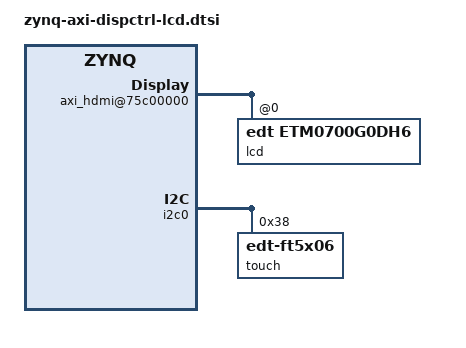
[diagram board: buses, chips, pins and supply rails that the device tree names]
&axi {
	i2c0: i2c@e0004000 {
		compatible = "xlnx,ps7-i2c-1.00.a", "cdns,i2c-r1p10";
		reg = <0xe0004000 0x1000>;
		interrupts = <0 25 4>;
		interrupt-parent = <&gic>;
		clocks = <&clkc 38>;
		i2c-clk = <100000>;
		#address-cells = <0x1>;
		#size-cells = <0x0>;
		touch@38 {
			compatible = "edt-ft5x06";
			reg = <0x38>;
			interrupt-parent = <&gic>;
			interrupts = <0 58 0x4>;
		};
	};
};

/ {
	fpga_axi: fpga-axi@0 {
		compatible = "simple-bus";
		#address-cells = <0x1>;
		#size-cells = <0x1>;
		ranges;

		axi_vdma_0: axivdma@43000000 {
			compatible = "xlnx,axi-vdma";
			#address-cells = <1>;
			#size-cells = <1>;
			#dma-cells = <1>;
			#dma-channels = <1>;
			reg = <0x43000000 0x1000>;
			xlnx,include-sg = <0x0>;
			xlnx,num-fstores = <0x3>;
			dma-channel@43000000 {
				compatible = "xlnx,axi-vdma-mm2s-channel";
				interrupts = <0 59 0x4>;
				xlnx,datawidth = <0x20>;
				xlnx,genlock-mode = <0x0>;
				xlnx,include-dre = <0x0>;
			};
		};


		axi_hdmi@75c00000 {
			compatible = "ant,axi-dispctrl-lcd";
			reg = <0x75c00000 0x10000>;
			dmas = <&axi_vdma_0 0>;
			dma-names = "video";
			#size-cells = <0>;
			#address-cells = <0>;
			lcd@0 {
				compatible = "edt,etm0700g0dh6";
				/* custom LCD example
				compatible = "custom";
				lcd,clock = <33260>;
			        lcd,hdisplay = <800>;
				lcd,hsync_start = <840>;
				lcd,hsync_end = <968>;
				lcd,htotal = <1056>;
				lcd,vdisplay = <480>;
				lcd,vsync_start = <490>;
				lcd,vsync_end = <492>;
				lcd,vtotal = <525>;
				lcd,vrefresh = <60>;
				lcd,flags = <0x0B>; /* NVSYNC | NHSYNC */
			}; 
		};

	};

};
